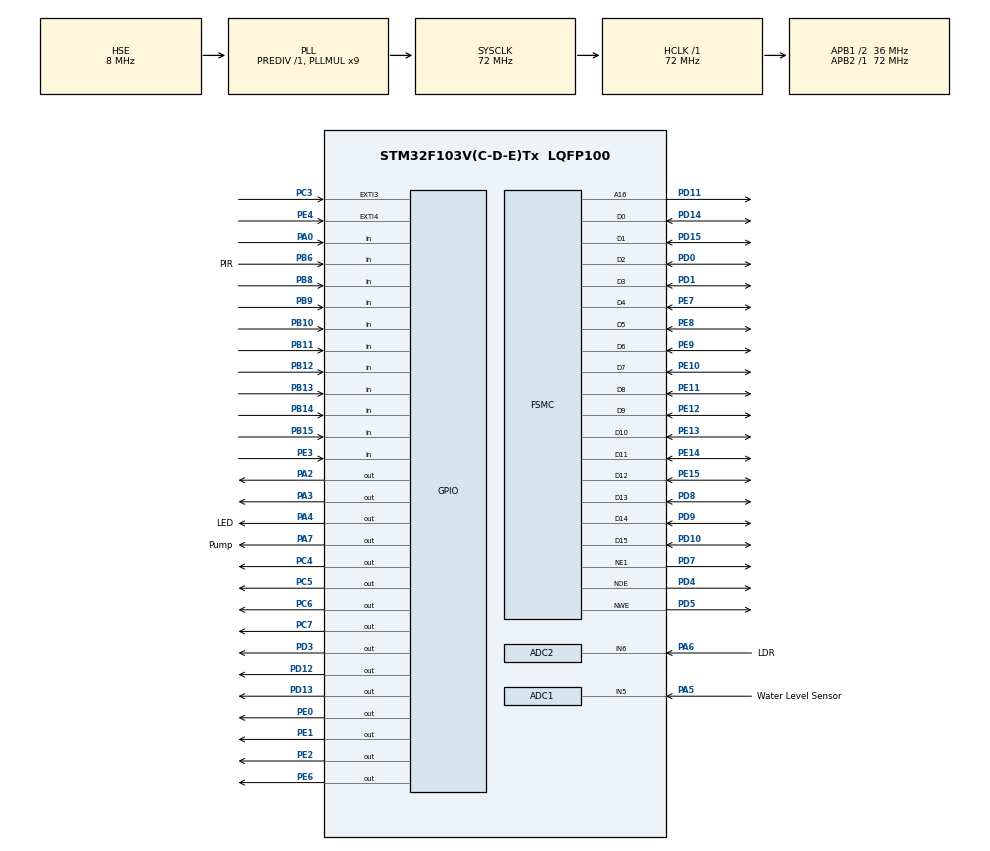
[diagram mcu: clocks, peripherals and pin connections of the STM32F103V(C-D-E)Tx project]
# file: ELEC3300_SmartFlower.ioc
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ADC1.Channel-0\#ChannelRegularConversion=ADC_CHANNEL_5
ADC1.NbrOfConversionFlag=1
ADC1.Rank-0\#ChannelRegularConversion=1
ADC1.SamplingTime-0\#ChannelRegularConversion=ADC_SAMPLETIME_1CYCLE_5
ADC1.master=1
ADC2.Channel-0\#ChannelRegularConversion=ADC_CHANNEL_6
ADC2.NbrOfConversionFlag=1
ADC2.Rank-0\#ChannelRegularConversion=1
ADC2.SamplingTime-0\#ChannelRegularConversion=ADC_SAMPLETIME_1CYCLE_5
Mcu.Family=STM32F1
Mcu.Name=STM32F103V(C-D-E)Tx
Mcu.Package=LQFP100
NVIC.EXTI3_IRQn=true\:0\:0\:false\:false\:true\:true\:true\:true
NVIC.EXTI4_IRQn=true\:0\:0\:false\:false\:true\:true\:true\:true
NVIC.PriorityGroup=NVIC_PRIORITYGROUP_4
OSC_IN.Mode=HSE-External-Oscillator
OSC_IN.Signal=RCC_OSC_IN
OSC_OUT.Mode=HSE-External-Oscillator
OSC_OUT.Signal=RCC_OSC_OUT
PA0-WKUP.Signal=GPIO_Input
PA13.Mode=Serial_Wire
PA13.Signal=SYS_JTMS-SWDIO
PA14.Mode=Serial_Wire
PA14.Signal=SYS_JTCK-SWCLK
PA2.GPIO_Speed=GPIO_SPEED_FREQ_HIGH
PA2.Signal=GPIO_Output
PA3.GPIO_Speed=GPIO_SPEED_FREQ_HIGH
PA3.Signal=GPIO_Output
PA4.GPIO_Label=LED
PA4.PinState=GPIO_PIN_RESET
PA4.Signal=GPIO_Output
PA5.GPIO_Label=Water Level Sensor
PA5.Signal=ADCx_IN5
PA6.GPIO_Label=LDR
PA6.Signal=ADCx_IN6
PA7.GPIO_Label=Pump
PA7.PinState=GPIO_PIN_RESET
PA7.Signal=GPIO_Output
PB10.Signal=GPIO_Input
PB11.Signal=GPIO_Input
PB12.Signal=GPIO_Input
PB13.Signal=GPIO_Input
PB14.Signal=GPIO_Input
PB15.Signal=GPIO_Input
PB6.GPIO_Label=PIR
PB6.GPIO_PuPd=GPIO_PULLDOWN
PB6.Signal=GPIO_Input
PB8.Signal=GPIO_Input
PB9.Signal=GPIO_Input
PC14-OSC32_IN.Mode=LSE-External-Oscillator
PC14-OSC32_IN.Signal=RCC_OSC32_IN
PC15-OSC32_OUT.Mode=LSE-External-Oscillator
PC15-OSC32_OUT.Signal=RCC_OSC32_OUT
PC3.GPIO_ModeDefaultEXTI=GPIO_MODE_IT_FALLING
PC3.Signal=GPXTI3
PC4.GPIO_Speed=GPIO_SPEED_FREQ_HIGH
PC4.Signal=GPIO_Output
PC5.GPIO_Speed=GPIO_SPEED_FREQ_HIGH
PC5.Signal=GPIO_Output
PC6.GPIO_ModeDefaultOutputPP=GPIO_MODE_OUTPUT_OD
PC6.GPIO_PuPd=GPIO_NOPULL
PC6.GPIO_Speed=GPIO_SPEED_FREQ_HIGH
PC6.Signal=GPIO_Output
PC7.GPIO_ModeDefaultOutputPP=GPIO_MODE_OUTPUT_OD
PC7.GPIO_Speed=GPIO_SPEED_FREQ_HIGH
PC7.Signal=GPIO_Output
PD0.Mode=16b-d1
PD0.Signal=FSMC_D2
PD1.Mode=16b-d1
PD1.Signal=FSMC_D3
PD10.Mode=16b-d1
PD10.Signal=FSMC_D15
PD11.Mode=A16_1
PD11.Signal=FSMC_A16
PD12.GPIO_Speed=GPIO_SPEED_FREQ_HIGH
PD12.PinState=GPIO_PIN_SET
PD12.Signal=GPIO_Output
PD13.GPIO_Speed=GPIO_SPEED_FREQ_HIGH
PD13.Signal=GPIO_Output
PD14.Mode=16b-d1
PD14.Signal=FSMC_D0
PD15.Mode=16b-d1
PD15.Signal=FSMC_D1
PD3.GPIO_Speed=GPIO_SPEED_FREQ_HIGH
PD3.Signal=GPIO_Output
PD4.Mode=Lcd1
PD4.Signal=FSMC_NOE
PD5.Mode=Lcd1
PD5.Signal=FSMC_NWE
PD7.Mode=NorPsramChipSelect1_1
PD7.Signal=FSMC_NE1
PD8.Mode=16b-d1
PD8.Signal=FSMC_D13
PD9.Mode=16b-d1
PD9.Signal=FSMC_D14
PE0.GPIO_Speed=GPIO_SPEED_FREQ_HIGH
PE0.Signal=GPIO_Output
PE1.GPIO_Speed=GPIO_SPEED_FREQ_HIGH
PE1.PinState=GPIO_PIN_RESET
PE1.Signal=GPIO_Output
PE10.Mode=16b-d1
PE10.Signal=FSMC_D7
PE11.Mode=16b-d1
PE11.Signal=FSMC_D8
PE12.Mode=16b-d1
PE12.Signal=FSMC_D9
PE13.Mode=16b-d1
PE13.Signal=FSMC_D10
PE14.Mode=16b-d1
PE14.Signal=FSMC_D11
PE15.Mode=16b-d1
PE15.Signal=FSMC_D12
PE2.GPIO_Speed=GPIO_SPEED_FREQ_HIGH
PE2.Signal=GPIO_Output
PE3.GPIO_PuPd=GPIO_PULLUP
PE3.Signal=GPIO_Input
PE4.Signal=GPXTI4
PE6.GPIO_Speed=GPIO_SPEED_FREQ_HIGH
PE6.Signal=GPIO_Output
PE7.Mode=16b-d1
PE7.Signal=FSMC_D4
PE8.Mode=16b-d1
PE8.Signal=FSMC_D5
PE9.Mode=16b-d1
PE9.Signal=FSMC_D6
ProjectManager.HeapSize=0x200
ProjectManager.StackSize=0x400
ProjectManager.TargetToolchain=STM32CubeIDE
RCC.ADCPresc=RCC_ADCPCLK2_DIV6
RCC.AHBFreq_Value=72000000
RCC.APB1CLKDivider=RCC_HCLK_DIV2
RCC.APB1Freq_Value=36000000
RCC.APB1TimFreq_Value=72000000
RCC.APB2Freq_Value=72000000
RCC.APB2TimFreq_Value=72000000
RCC.HCLKFreq_Value=72000000
RCC.PLLMUL=RCC_PLL_MUL9
RCC.PLLSourceVirtual=RCC_PLLSOURCE_HSE
RCC.SYSCLKFreq_VALUE=72000000
RCC.SYSCLKSource=RCC_SYSCLKSOURCE_PLLCLK
RCC.USBFreq_Value=72000000
RTC.Month=RTC_MONTH_JANUARY
SH.ADCx_IN5.0=ADC1_IN5,IN5
SH.ADCx_IN6.0=ADC2_IN6,IN6
TIM6.Prescaler=71
VP_RTC_VS_RTC_Activate.Mode=RTC_Enabled
VP_RTC_VS_RTC_Calendar.Mode=RTC_Calendar
VP_TIM6_VS_ClockSourceINT.Mode=Enable_Timer
board=custom

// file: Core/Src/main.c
/* USER CODE BEGIN Header */
/**
  ******************************************************************************
  * @file           : main.c
  * @brief          : Main program body
  ******************************************************************************
  * @attention
  *
  * <h2><center>&copy; Copyright (c) 2019 STMicroelectronics.
  * All rights reserved.</center></h2>
  *
  * This software component is licensed by ST under BSD 3-Clause license,
  * the "License"; You may not use this file except in compliance with the
  * License. You may obtain a copy of the License at:
  *                        opensource.org/licenses/BSD-3-Clause
  *
  ******************************************************************************
  */
/* USER CODE END Header */
#include "main.h"

/* USER CODE BEGIN Includes */
#include "lcd.h"
#include "bsp_ov7725.h"
#include "bsp_sccb.h"
#include "dht11.h"
#include "xpt2046.h"
#include "pages.h"
#include "string.h"

/* USER CODE END Includes */

/* USER CODE BEGIN PM */
const uint8_t menu[] = { 0x00, 0x00, 0x00, 0x00, 0x00, 0x00, 0xff, 0xff, 0xff, 0xff, 0xff, 0xff, 0xff, 0xff, 0xff, 0xff, 0xff, 0xff, 0x00, 0x00, 0x00, 0x00, 0x00, 0x00, 0x00, 0x00, 0x00, 0x00, 0x00, 0x00, 0xff, 0xff, 0xff, 0xff, 0xff, 0xff, 0xff, 0xff, 0xff, 0xff, 0xff, 0xff, 0x00, 0x00, 0x00, 0x00, 0x00, 0x00, 0x00, 0x00, 0x00, 0x00, 0x00, 0x00, 0xff, 0xff, 0xff, 0xff, 0xff, 0xff, 0xff, 0xff, 0xff, 0xff, 0xff, 0xff, 0x00, 0x00, 0x00, 0x00, 0x00, 0x00};
/* USER CODE END PM */

 ADC_HandleTypeDef hadc1;
ADC_HandleTypeDef hadc2;

RTC_HandleTypeDef hrtc;

TIM_HandleTypeDef htim6;

SRAM_HandleTypeDef hsram1;

void SystemClock_Config(void);
static void MX_GPIO_Init(void);
static void MX_FSMC_Init(void);
static void MX_ADC1_Init(void);
static void MX_TIM6_Init(void);
static void MX_RTC_Init(void);
static void MX_ADC2_Init(void);
/* USER CODE BEGIN PFP */
volatile uint8_t Ov7725_vsync ;
char times[30];
char dates[30];
RTC_TimeTypeDef sTime = {0};
RTC_DateTypeDef sDate = {0};
uint8_t sec=0, min=0, hr=0, weekday = 0, date=0, month = 0, year=0;
/* USER CODE END PFP */

int main(void)
{
  /* USER CODE BEGIN 1 */
  int32_t adc1_value = 0, adc2_value = 0;
  char watering_time_1 [] = {"00:00"};
  char watering_time_2 [] = {"00:00"};
  char watering_time [] = {"00:00"};
  char records [10][3][8] = {{"time", "temperature", "humidity"}};
  uint8_t records_count = 0;
  uint8_t Humidity_B1, Humidity_B2, Temp_B1, Temp_B2;
  char temp_r [8] = {0}, humid_r [8] = {0};
  strType_XPT2046_Coordinate touchpt;
  char touch_x[4], touch_y[4];

  /* USER CODE END 1 */

  /* MCU Configuration--------------------------------------------------------*/

  /* Reset of all peripherals, Initializes the Flash interface and the Systick. */
  HAL_Init();

  /* Configure the system clock */
  SystemClock_Config();

  /* Initialize all configured peripherals */
  MX_GPIO_Init();
  MX_FSMC_Init();
  MX_ADC1_Init();
  MX_TIM6_Init();
  MX_RTC_Init();
  MX_ADC2_Init();
  /* USER CODE BEGIN 2 */
  macXPT2046_CS_DISABLE();
  LCD_INIT();
  HAL_ADCEx_Calibration_Start(&hadc1);
  HAL_TIM_Base_Start(&htim6);
  while(Ov7725_Init() != SUCCESS);
  TimeInitPage(sec, min, hr, weekday, date, month, year, sTime, sDate, hrtc);
  Ov7725_vsync = 0;
  /* USER CODE END 2 */

  /* Infinite loop */
  /* USER CODE BEGIN WHILE */

//  while( ! XPT2046_Touch_Calibrate () );

  while (1)
  {
	// RTC
	HAL_RTC_GetTime(&hrtc, &sTime, RTC_FORMAT_BIN);
	if(sTime.Hours == (watering_time_1[0]-48)*10+(watering_time_1[1]-48)){
		if(sTime.Minutes > (watering_time_1[3]-48)*10+(watering_time_1[4]-48) && sTime.Minutes <= (watering_time_2[3]-48)*10+(watering_time_2[4]-48))
			strcpy(watering_time, watering_time_2);
		else
			strcpy(watering_time, watering_time_1);
	}
	else if(sTime.Hours > (watering_time_1[0]-48)*10+(watering_time_1[1]-48) && sTime.Hours <= (watering_time_2[0]-48)*10+(watering_time_2[1]-48)){
		if(sTime.Minutes > (watering_time_2[3]-48)*10+(watering_time_2[4]-48))
			strcpy(watering_time, watering_time_1);
		else
			strcpy(watering_time, watering_time_2);
	}
	else strcpy(watering_time, watering_time_1);

	//DHT11 Sensor For Temperature and Humidity
	HAL_GPIO_WritePin(GPIOE, GPIO_PIN_6, GPIO_PIN_SET);
	HAL_Delay(500);
	HAL_GPIO_WritePin(GPIOE, GPIO_PIN_6, GPIO_PIN_RESET);
	DHT11_Start();
	Check_Response();
	Humidity_B1 = DHT11_Read();
	Humidity_B2 = DHT11_Read();
	Temp_B1 = DHT11_Read();
	Temp_B2 = DHT11_Read();

	// ADC1 for Water Level Sensor
	HAL_ADC_Start(&hadc1);
    HAL_ADC_PollForConversion(&hadc1, 1000);
	adc1_value = HAL_ADC_GetValue(&hadc1);

	// ADC2 for LDR
	HAL_ADC_Start(&hadc2);
    HAL_ADC_PollForConversion(&hadc2, 1000);
	adc2_value = HAL_ADC_GetValue(&hadc2);

	// Control LED light based on LDR value: Turn on if it's dim
	if(adc2_value <= 2800) HAL_GPIO_WritePin(GPIOA, GPIO_PIN_4, GPIO_PIN_SET);
	else HAL_GPIO_WritePin(GPIOA, GPIO_PIN_4, GPIO_PIN_RESET);

	// PIR and LCD
	if(HAL_GPIO_ReadPin(GPIOB, GPIO_PIN_6) == GPIO_PIN_SET){
		HAL_GPIO_WritePin(GPIOD,GPIO_PIN_12,GPIO_PIN_RESET);
	}
	else{
		HAL_GPIO_WritePin(GPIOD,GPIO_PIN_12,GPIO_PIN_SET);
	}

	// Records During Watering => delay 1 minutes
	if(sTime.Hours == (watering_time[0]-48)*10+(watering_time[1]-48) && sTime.Minutes == (watering_time[3]-48)*10+(watering_time[4]-48) && strcmp(watering_time_1, watering_time_2)!=0){
	  LCD_Clear (50, 80, 140, 70, GREEN);
	  LCD_DrawString(75, 100, "Watering");
	  strcpy(records[records_count%10][0], watering_time);
	  sprintf(temp_r, "%d", (int)Temp_B1);
	  sprintf(humid_r, "%d", (int)Humidity_B1);
	  strcpy(records[records_count%10][1], temp_r);
	  strcpy(records[records_count%10][2], humid_r);
	  records_count += 1;

	  HAL_GPIO_WritePin(GPIOA, GPIO_PIN_7, GPIO_PIN_SET);
	  HAL_Delay(10000);
	  HAL_GPIO_WritePin(GPIOA, GPIO_PIN_7, GPIO_PIN_RESET);
	  HAL_Delay(50000);
	  LCD_Clear (50, 80, 140, 70, WHITE);
	}

	HomePage((int)Temp_B1, (int)Humidity_B1, adc2_value, adc1_value, watering_time, sTime, sDate, hrtc);

	//	LCD_DrawString(10, 280, watering_time_1);
//	LCD_DrawString(10, 300, watering_time_2);

	// Touch Screen Activity -- HomePage
	if(XPT2046_Get_TouchedPoint(&touchpt, &strXPT2046_TouchPara) && touchpt.x >= 290 && touchpt.y<=60){
		LCD_Clear(0, 0, 240, 320, 0xffff);
		LCD_Draw_24sqr(10, 10, menu);
		LCD_DrawString(48, 50, "Menu");
		LCD_DrawString(48, 100, "Home");
		LCD_DrawString(48, 150, "> Set Watering Time");
		LCD_DrawString(48, 200, "> Review Records");
		LCD_DrawString(48, 250, "> Review Images");
		while(1){
			touchpt.x = 0;
			touchpt.y = 0;
			XPT2046_Get_TouchedPoint(&touchpt, &strXPT2046_TouchPara);
			if(touchpt.x >= 170 && touchpt.x <=240 && touchpt.y >= 50 && touchpt.y <=200) {
				SetTimePage(watering_time_1, watering_time_2);
				break;
			}
			else if(touchpt.x >= 60 && touchpt.x <=120 && touchpt.y >= 40 && touchpt.y <=180) {
				RecordsPage(records, records_count);
				break;
			}
			else if(touchpt.x >= 40 && touchpt.x <=80 && touchpt.y >= 40 && touchpt.y <=180){
				ImgPage(Ov7725_vsync);
				break;
			}
		}

	}

	HAL_Delay(1000);

    /* USER CODE END WHILE */

  }
}

void SystemClock_Config(void)
{
  RCC_OscInitTypeDef RCC_OscInitStruct = {0};
  RCC_ClkInitTypeDef RCC_ClkInitStruct = {0};
  RCC_PeriphCLKInitTypeDef PeriphClkInit = {0};

  /** Initializes the RCC Oscillators according to the specified parameters
  * in the RCC_OscInitTypeDef structure.
  */
  RCC_OscInitStruct.OscillatorType = RCC_OSCILLATORTYPE_LSI|RCC_OSCILLATORTYPE_HSE;
  RCC_OscInitStruct.HSEState = RCC_HSE_ON;
  RCC_OscInitStruct.HSEPredivValue = RCC_HSE_PREDIV_DIV1;
  RCC_OscInitStruct.HSIState = RCC_HSI_ON;
  RCC_OscInitStruct.LSIState = RCC_LSI_ON;
  RCC_OscInitStruct.PLL.PLLState = RCC_PLL_ON;
  RCC_OscInitStruct.PLL.PLLSource = RCC_PLLSOURCE_HSE;
  RCC_OscInitStruct.PLL.PLLMUL = RCC_PLL_MUL9;
  if (HAL_RCC_OscConfig(&RCC_OscInitStruct) != HAL_OK)
  {
    Error_Handler();
  }

  /** Initializes the CPU, AHB and APB buses clocks
  */
  RCC_ClkInitStruct.ClockType = RCC_CLOCKTYPE_HCLK|RCC_CLOCKTYPE_SYSCLK
                              |RCC_CLOCKTYPE_PCLK1|RCC_CLOCKTYPE_PCLK2;
  RCC_ClkInitStruct.SYSCLKSource = RCC_SYSCLKSOURCE_PLLCLK;
  RCC_ClkInitStruct.AHBCLKDivider = RCC_SYSCLK_DIV1;
  RCC_ClkInitStruct.APB1CLKDivider = RCC_HCLK_DIV2;
  RCC_ClkInitStruct.APB2CLKDivider = RCC_HCLK_DIV1;

  if (HAL_RCC_ClockConfig(&RCC_ClkInitStruct, FLASH_LATENCY_2) != HAL_OK)
  {
    Error_Handler();
  }
  PeriphClkInit.PeriphClockSelection = RCC_PERIPHCLK_RTC|RCC_PERIPHCLK_ADC;
  PeriphClkInit.RTCClockSelection = RCC_RTCCLKSOURCE_LSI;
  PeriphClkInit.AdcClockSelection = RCC_ADCPCLK2_DIV6;
  if (HAL_RCCEx_PeriphCLKConfig(&PeriphClkInit) != HAL_OK)
  {
    Error_Handler();
  }
}

static void MX_ADC1_Init(void)
{

  ADC_ChannelConfTypeDef sConfig = {0};

  /** Common config
  */
  hadc1.Instance = ADC1;
  hadc1.Init.ScanConvMode = ADC_SCAN_DISABLE;
  hadc1.Init.ContinuousConvMode = DISABLE;
  hadc1.Init.DiscontinuousConvMode = DISABLE;
  hadc1.Init.ExternalTrigConv = ADC_SOFTWARE_START;
  hadc1.Init.DataAlign = ADC_DATAALIGN_RIGHT;
  hadc1.Init.NbrOfConversion = 1;
  if (HAL_ADC_Init(&hadc1) != HAL_OK)
  {
    Error_Handler();
  }

  /** Configure Regular Channel
  */
  sConfig.Channel = ADC_CHANNEL_5;
  sConfig.Rank = ADC_REGULAR_RANK_1;
  sConfig.SamplingTime = ADC_SAMPLETIME_1CYCLE_5;
  if (HAL_ADC_ConfigChannel(&hadc1, &sConfig) != HAL_OK)
  {
    Error_Handler();
  }

}

static void MX_ADC2_Init(void)
{

  ADC_ChannelConfTypeDef sConfig = {0};

  /** Common config
  */
  hadc2.Instance = ADC2;
  hadc2.Init.ScanConvMode = ADC_SCAN_DISABLE;
  hadc2.Init.ContinuousConvMode = DISABLE;
  hadc2.Init.DiscontinuousConvMode = DISABLE;
  hadc2.Init.ExternalTrigConv = ADC_SOFTWARE_START;
  hadc2.Init.DataAlign = ADC_DATAALIGN_RIGHT;
  hadc2.Init.NbrOfConversion = 1;
  if (HAL_ADC_Init(&hadc2) != HAL_OK)
  {
    Error_Handler();
  }

  /** Configure Regular Channel
  */
  sConfig.Channel = ADC_CHANNEL_6;
  sConfig.Rank = ADC_REGULAR_RANK_1;
  sConfig.SamplingTime = ADC_SAMPLETIME_1CYCLE_5;
  if (HAL_ADC_ConfigChannel(&hadc2, &sConfig) != HAL_OK)
  {
    Error_Handler();
  }

}

static void MX_RTC_Init(void)
{

  /* USER CODE BEGIN RTC_Init 0 */
  RTC_TimeTypeDef sTime_buffer;
  RTC_DateTypeDef DateToUpdate_buffer;
  /* USER CODE END RTC_Init 0 */

  RTC_TimeTypeDef sTime = {0};
  RTC_DateTypeDef DateToUpdate = {0};

  /** Initialize RTC Only
  */
  hrtc.Instance = RTC;
  hrtc.Init.AsynchPrediv = RTC_AUTO_1_SECOND;
  hrtc.Init.OutPut = RTC_OUTPUTSOURCE_ALARM;
  if (HAL_RTC_Init(&hrtc) != HAL_OK)
  {
    Error_Handler();
  }

  /* USER CODE BEGIN Check_RTC_BKUP */
  if(HAL_RTCEx_BKUPRead(&hrtc, RTC_BKP_DR1) != 0x5432){
  /* USER CODE END Check_RTC_BKUP */

  /** Initialize RTC and set the Time and Date
  */
  sTime.Hours = 0x0;
  sTime.Minutes = 0x0;
  sTime.Seconds = 0x0;

  if (HAL_RTC_SetTime(&hrtc, &sTime, RTC_FORMAT_BCD) != HAL_OK)
  {
    Error_Handler();
  }
  DateToUpdate.WeekDay = RTC_WEEKDAY_MONDAY;
  DateToUpdate.Month = RTC_MONTH_JANUARY;
  DateToUpdate.Date = 0x1;
  DateToUpdate.Year = 0x0;

  if (HAL_RTC_SetDate(&hrtc, &DateToUpdate, RTC_FORMAT_BCD) != HAL_OK)
  {
    Error_Handler();
  }
  /* USER CODE BEGIN RTC_Init 2 */
	__HAL_RTC_SECOND_ENABLE_IT(&hrtc, RTC_IT_SEC);
	DateToUpdate_buffer = DateToUpdate;
	HAL_RTCEx_BKUPWrite(&hrtc, RTC_BKP_DR1, 0x5432);
	HAL_RTCEx_BKUPWrite(&hrtc, RTC_BKP_DR2, (uint16_t)DateToUpdate_buffer.Year);
	HAL_RTCEx_BKUPWrite(&hrtc, RTC_BKP_DR3, (uint16_t)DateToUpdate_buffer.Month);
	HAL_RTCEx_BKUPWrite(&hrtc, RTC_BKP_DR4, (uint16_t)DateToUpdate_buffer.Date);
	HAL_RTCEx_BKUPWrite(&hrtc, RTC_BKP_DR5, (uint16_t)DateToUpdate_buffer.WeekDay);
}
else{
	DateToUpdate_buffer.Year = HAL_RTCEx_BKUPRead(&hrtc, RTC_BKP_DR2);
	DateToUpdate_buffer.Month = HAL_RTCEx_BKUPRead(&hrtc, RTC_BKP_DR3);
	DateToUpdate_buffer.Date = HAL_RTCEx_BKUPRead(&hrtc, RTC_BKP_DR4);
	DateToUpdate_buffer.WeekDay = HAL_RTCEx_BKUPRead(&hrtc, RTC_BKP_DR5);
	DateToUpdate = DateToUpdate_buffer;
	HAL_RTC_SetDate(&hrtc, &DateToUpdate, RTC_FORMAT_BCD);
	__HAL_RTC_SECOND_ENABLE_IT(&hrtc, RTC_IT_SEC);
}
  /* USER CODE END RTC_Init 2 */

}

static void MX_TIM6_Init(void)
{

  TIM_MasterConfigTypeDef sMasterConfig = {0};

  htim6.Instance = TIM6;
  htim6.Init.Prescaler = 71;
  htim6.Init.CounterMode = TIM_COUNTERMODE_UP;
  htim6.Init.Period = 65535;
  htim6.Init.AutoReloadPreload = TIM_AUTORELOAD_PRELOAD_DISABLE;
  if (HAL_TIM_Base_Init(&htim6) != HAL_OK)
  {
    Error_Handler();
  }
  sMasterConfig.MasterOutputTrigger = TIM_TRGO_RESET;
  sMasterConfig.MasterSlaveMode = TIM_MASTERSLAVEMODE_DISABLE;
  if (HAL_TIMEx_MasterConfigSynchronization(&htim6, &sMasterConfig) != HAL_OK)
  {
    Error_Handler();
  }

}

static void MX_GPIO_Init(void)
{
  GPIO_InitTypeDef GPIO_InitStruct = {0};

  /* GPIO Ports Clock Enable */
  __HAL_RCC_GPIOE_CLK_ENABLE();
  __HAL_RCC_GPIOC_CLK_ENABLE();
  __HAL_RCC_GPIOA_CLK_ENABLE();
  __HAL_RCC_GPIOB_CLK_ENABLE();
  __HAL_RCC_GPIOD_CLK_ENABLE();

  /*Configure GPIO pin Output Level */
  HAL_GPIO_WritePin(GPIOE, GPIO_PIN_2|GPIO_PIN_6|GPIO_PIN_0|GPIO_PIN_1, GPIO_PIN_RESET);

  /*Configure GPIO pin Output Level */
  HAL_GPIO_WritePin(GPIOA, GPIO_PIN_2|GPIO_PIN_3|LED_Pin|Pump_Pin, GPIO_PIN_RESET);

  /*Configure GPIO pin Output Level */
  HAL_GPIO_WritePin(GPIOC, GPIO_PIN_4|GPIO_PIN_5|GPIO_PIN_6|GPIO_PIN_7, GPIO_PIN_RESET);

  /*Configure GPIO pin Output Level */
  HAL_GPIO_WritePin(GPIOD, GPIO_PIN_12, GPIO_PIN_SET);

  /*Configure GPIO pin Output Level */
  HAL_GPIO_WritePin(GPIOD, GPIO_PIN_13|GPIO_PIN_3, GPIO_PIN_RESET);

  /*Configure GPIO pins : PE2 PE6 PE0 PE1 */
  GPIO_InitStruct.Pin = GPIO_PIN_2|GPIO_PIN_6|GPIO_PIN_0|GPIO_PIN_1;
  GPIO_InitStruct.Mode = GPIO_MODE_OUTPUT_PP;
  GPIO_InitStruct.Pull = GPIO_NOPULL;
  GPIO_InitStruct.Speed = GPIO_SPEED_FREQ_HIGH;
  HAL_GPIO_Init(GPIOE, &GPIO_InitStruct);

  /*Configure GPIO pin : PE3 */
  GPIO_InitStruct.Pin = GPIO_PIN_3;
  GPIO_InitStruct.Mode = GPIO_MODE_INPUT;
  GPIO_InitStruct.Pull = GPIO_PULLUP;
  HAL_GPIO_Init(GPIOE, &GPIO_InitStruct);

  /*Configure GPIO pin : PE4 */
  GPIO_InitStruct.Pin = GPIO_PIN_4;
  GPIO_InitStruct.Mode = GPIO_MODE_IT_RISING;
  GPIO_InitStruct.Pull = GPIO_NOPULL;
  HAL_GPIO_Init(GPIOE, &GPIO_InitStruct);

  /*Configure GPIO pin : PC3 */
  GPIO_InitStruct.Pin = GPIO_PIN_3;
  GPIO_InitStruct.Mode = GPIO_MODE_IT_FALLING;
  GPIO_InitStruct.Pull = GPIO_NOPULL;
  HAL_GPIO_Init(GPIOC, &GPIO_InitStruct);

  /*Configure GPIO pin : PA0 */
  GPIO_InitStruct.Pin = GPIO_PIN_0;
  GPIO_InitStruct.Mode = GPIO_MODE_INPUT;
  GPIO_InitStruct.Pull = GPIO_NOPULL;
  HAL_GPIO_Init(GPIOA, &GPIO_InitStruct);

  /*Configure GPIO pins : PA2 PA3 */
  GPIO_InitStruct.Pin = GPIO_PIN_2|GPIO_PIN_3;
  GPIO_InitStruct.Mode = GPIO_MODE_OUTPUT_PP;
  GPIO_InitStruct.Pull = GPIO_NOPULL;
  GPIO_InitStruct.Speed = GPIO_SPEED_FREQ_HIGH;
  HAL_GPIO_Init(GPIOA, &GPIO_InitStruct);

  /*Configure GPIO pins : LED_Pin Pump_Pin */
  GPIO_InitStruct.Pin = LED_Pin|Pump_Pin;
  GPIO_InitStruct.Mode = GPIO_MODE_OUTPUT_PP;
  GPIO_InitStruct.Pull = GPIO_NOPULL;
  GPIO_InitStruct.Speed = GPIO_SPEED_FREQ_LOW;
  HAL_GPIO_Init(GPIOA, &GPIO_InitStruct);

  /*Configure GPIO pins : PC4 PC5 */
  GPIO_InitStruct.Pin = GPIO_PIN_4|GPIO_PIN_5;
  GPIO_InitStruct.Mode = GPIO_MODE_OUTPUT_PP;
  GPIO_InitStruct.Pull = GPIO_NOPULL;
  GPIO_InitStruct.Speed = GPIO_SPEED_FREQ_HIGH;
  HAL_GPIO_Init(GPIOC, &GPIO_InitStruct);

  /*Configure GPIO pins : PB10 PB11 PB12 PB13
                           PB14 PB15 PB8 PB9 */
  GPIO_InitStruct.Pin = GPIO_PIN_10|GPIO_PIN_11|GPIO_PIN_12|GPIO_PIN_13
                          |GPIO_PIN_14|GPIO_PIN_15|GPIO_PIN_8|GPIO_PIN_9;
  GPIO_InitStruct.Mode = GPIO_MODE_INPUT;
  GPIO_InitStruct.Pull = GPIO_NOPULL;
  HAL_GPIO_Init(GPIOB, &GPIO_InitStruct);

  /*Configure GPIO pins : PD12 PD13 PD3 */
  GPIO_InitStruct.Pin = GPIO_PIN_12|GPIO_PIN_13|GPIO_PIN_3;
  GPIO_InitStruct.Mode = GPIO_MODE_OUTPUT_PP;
  GPIO_InitStruct.Pull = GPIO_NOPULL;
  GPIO_InitStruct.Speed = GPIO_SPEED_FREQ_HIGH;
  HAL_GPIO_Init(GPIOD, &GPIO_InitStruct);

  /*Configure GPIO pins : PC6 PC7 */
  GPIO_InitStruct.Pin = GPIO_PIN_6|GPIO_PIN_7;
  GPIO_InitStruct.Mode = GPIO_MODE_OUTPUT_OD;
  GPIO_InitStruct.Pull = GPIO_NOPULL;
  GPIO_InitStruct.Speed = GPIO_SPEED_FREQ_HIGH;
  HAL_GPIO_Init(GPIOC, &GPIO_InitStruct);

  /*Configure GPIO pin : PIR_Pin */
  GPIO_InitStruct.Pin = PIR_Pin;
  GPIO_InitStruct.Mode = GPIO_MODE_INPUT;
  GPIO_InitStruct.Pull = GPIO_PULLDOWN;
  HAL_GPIO_Init(PIR_GPIO_Port, &GPIO_InitStruct);

  /* EXTI interrupt init*/
  HAL_NVIC_SetPriority(EXTI3_IRQn, 0, 0);
  HAL_NVIC_EnableIRQ(EXTI3_IRQn);

  HAL_NVIC_SetPriority(EXTI4_IRQn, 0, 0);
  HAL_NVIC_EnableIRQ(EXTI4_IRQn);

}

/* FSMC initialization function */
static void MX_FSMC_Init(void)
{

  FSMC_NORSRAM_TimingTypeDef Timing = {0};

  /** Perform the SRAM1 memory initialization sequence
  */
  hsram1.Instance = FSMC_NORSRAM_DEVICE;
  hsram1.Extended = FSMC_NORSRAM_EXTENDED_DEVICE;
  /* hsram1.Init */
  hsram1.Init.NSBank = FSMC_NORSRAM_BANK1;
  hsram1.Init.DataAddressMux = FSMC_DATA_ADDRESS_MUX_DISABLE;
  hsram1.Init.MemoryType = FSMC_MEMORY_TYPE_SRAM;
  hsram1.Init.MemoryDataWidth = FSMC_NORSRAM_MEM_BUS_WIDTH_16;
  hsram1.Init.BurstAccessMode = FSMC_BURST_ACCESS_MODE_DISABLE;
  hsram1.Init.WaitSignalPolarity = FSMC_WAIT_SIGNAL_POLARITY_LOW;
  hsram1.Init.WrapMode = FSMC_WRAP_MODE_DISABLE;
  hsram1.Init.WaitSignalActive = FSMC_WAIT_TIMING_BEFORE_WS;
  hsram1.Init.WriteOperation = FSMC_WRITE_OPERATION_ENABLE;
  hsram1.Init.WaitSignal = FSMC_WAIT_SIGNAL_DISABLE;
  hsram1.Init.ExtendedMode = FSMC_EXTENDED_MODE_DISABLE;
  hsram1.Init.AsynchronousWait = FSMC_ASYNCHRONOUS_WAIT_DISABLE;
  hsram1.Init.WriteBurst = FSMC_WRITE_BURST_DISABLE;
  /* Timing */
  Timing.AddressSetupTime = 15;
  Timing.AddressHoldTime = 15;
  Timing.DataSetupTime = 255;
  Timing.BusTurnAroundDuration = 15;
  Timing.CLKDivision = 16;
  Timing.DataLatency = 17;
  Timing.AccessMode = FSMC_ACCESS_MODE_A;
  /* ExtTiming */

  if (HAL_SRAM_Init(&hsram1, &Timing, NULL) != HAL_OK)
  {
    Error_Handler( );
  }

  /** Disconnect NADV
  */

  __HAL_AFIO_FSMCNADV_DISCONNECTED();

}

void Error_Handler(void)
{
}
